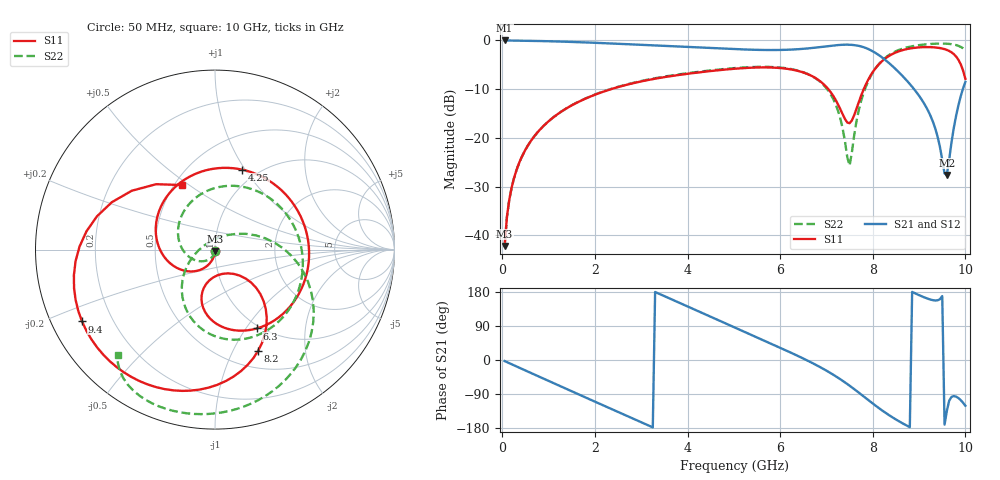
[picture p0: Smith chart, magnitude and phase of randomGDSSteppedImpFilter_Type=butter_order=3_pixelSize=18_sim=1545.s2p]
! freq	dB(S11)	phase(S11)	dB(S12)	phase(S12)
!  dB(S21)	phase(S21)	dB(S22)	phase(S22)
!S-par simulation data
#  GHz  S  DB  R 50
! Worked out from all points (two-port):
!   200 points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, 50 MHz to 10 GHz, reference 50 ohm
!   highest |S21| = 0.00 dB at 50 MHz (marker M1); lowest = -27.6 dB at 9.6 GHz (marker M2)
!   |S21| within 3 dB of the highest: start of sweep to 8.13 GHz
!   lowest |S11| = -42.2 dB at 50 MHz (marker M3), VSWR 1.02, Z = 50 - j0.775 ohm
!   |S11| at or under -10 dB: start of sweep to 2.35 GHz; 7.04 GHz to 7.805 GHz (765.4 MHz wide, 10.3 % of centre)
!   |S22| runs from -42.2 to -0.6 dB; largest |S21 - S12| = 0
!   S11 on the Smith chart (normalised r, x): 50 MHz: 1.00, -0.02; 4.25 GHz: 0.85, +0.97; 6.3 GHz: 0.96, -1.12; 8.2 GHz: 0.70, -1.26; 9.4 GHz: 0.09, -0.25; 10 GHz: 0.55, +0.47
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0.05  -42.21 -91.1  -0.00 -2.8  -0.00 -2.8  -42.24 -92.9
0.2  -30.28 -97.3  -0.02 -11.1  -0.02 -11.1  -30.31 -104.5
0.5  -22.42 -109.3  -0.06 -27.7  -0.06 -27.7  -22.45 -127.1
1.15  -15.44 -134.3  -0.20 -63.4  -0.20 -63.4  -15.44 -174.3
1.75  -12.14 -158.2  -0.39 -96.3  -0.39 -96.3  -12.11 143.8
2.65  -9.19 161.9  -0.75 -145.3  -0.75 -145.3  -9.12 85.8
3.4  -7.69 122.9  -1.08 174.0  -1.08 174.0  -7.58 43.8
4.25  -6.55 71.4  -1.45 127.8  -1.45 127.8  -6.42 3.5
5.05  -5.79 18.3  -1.79 84.2  -1.79 84.2  -5.65 -29.7
5.65  -5.53 -21.3  -1.96 51.5  -1.96 51.5  -5.42 -54.3
6.3  -6.07 -62.1  -1.85 15.5  -1.85 15.5  -5.99 -83.3
6.7  -7.38 -85.8  -1.54 -8.3  -1.54 -8.3  -7.39 -104.4
7.2  -12.24 -106.7  -0.99 -42.9  -0.99 -42.9  -13.16 -141.8
7.5  -16.99 -72.6  -0.88 -67.8  -0.88 -67.8  -25.68 112.4
7.8  -10.11 -42.8  -1.38 -95.8  -1.38 -95.8  -10.83 12.7
8.2  -4.26 -66.8  -3.48 -132.9  -3.48 -132.9  -4.16 -28.1
8.35  -3.18 -78.1  -4.64 -145.5  -4.64 -145.5  -3.00 -40.5
8.85  -1.58 -113.2  -9.51 179.7  -9.51 179.7  -1.19 -73.8
9.4  -1.49 -151.6  -19.76 157.5  -19.76 157.5  -0.66 -102.2
9.6  -1.95 -169.7  -27.60 -134.1  -27.60 -134.1  -0.67 -112.2
9.8  -3.31 164.2  -15.44 -96.7  -15.44 -96.7  -0.95 -122.8
10  -7.89 116.8  -8.51 -120.7  -8.51 -120.7  -1.94 -132.7
